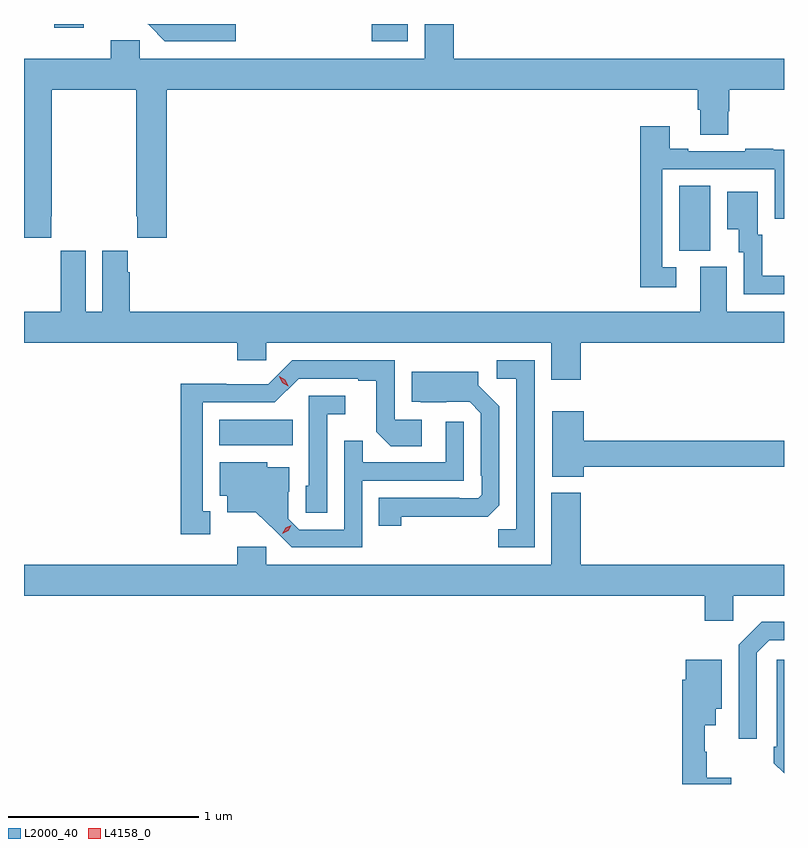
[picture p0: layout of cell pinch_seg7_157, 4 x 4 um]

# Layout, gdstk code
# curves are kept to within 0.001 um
import gdstk
lib = gdstk.Library(unit=1e-6, precision=1e-09)
def R(c, l, rs):  # rectangles x0, y0, x1, y1
    for r in rs: c.add(gdstk.rectangle(r[:2], r[2:], *l))
def P(c, l, *ps):  # polygons
    for p in ps: c.add(gdstk.Polygon(p, *l))
L2000_40 = (2000, 40)
L4158_0 = (4158, 0)

pinch_seg7_157 = lib.new_cell('pinch_seg7_157')
R(pinch_seg7_157, L2000_40, [(1047.347,1032.044,1047.734,1032.178), (1049.768,1033.069,1049.932,1033.412), (1048.15,1034.172,1048.341,1034.262), (1046.478,1034.241,1046.635,1034.262)])
P(pinch_seg7_157, L2000_40, [(1046.463,1033.249),(1046.466,1033.249),(1046.466,1033.916),(1046.911,1033.916),(1046.911,1033.249),(1046.917,1033.249),(1046.917,1033.137),(1047.071,1033.137),(1047.071,1033.916),(1049.867,1033.916),(1049.867,1033.81),(1049.879,1033.81),(1049.879,1033.678),(1050.027,1033.678),(1050.027,1033.803),(1050.032,1033.803),(1050.032,1033.916),(1050.32,1033.916),(1050.32,1034.08),(1048.583,1034.08),(1048.583,1034.262),(1048.43,1034.262),(1048.43,1034.08),(1046.928,1034.08),(1046.928,1034.176),(1046.777,1034.176),(1046.777,1034.08),(1046.32,1034.08),(1046.32,1033.137),(1046.463,1033.137)],
  [(1047.435,1034.262),(1046.971,1034.262),(1046.978,1034.255),(1047.062,1034.172),(1047.435,1034.172)],
  [(1049.752,1032.981),(1049.679,1032.981),(1049.679,1033.497),(1050.27,1033.497),(1050.27,1033.236),(1050.32,1033.236),(1050.32,1033.599),(1050.263,1033.599),(1050.263,1033.606),(1050.115,1033.606),(1050.115,1033.593),(1049.815,1033.593),(1049.815,1033.606),(1049.719,1033.606),(1049.719,1033.723),(1049.563,1033.723),(1049.563,1032.876),(1049.752,1032.876)],
  [(1050.32,1032.936),(1050.205,1032.936),(1050.205,1033.152),(1050.181,1033.152),(1050.181,1033.378),(1050.02,1033.378),(1050.02,1033.181),(1050.083,1033.181),(1050.083,1033.062),(1050.108,1033.062),(1050.108,1032.84),(1050.32,1032.84)],
  [(1050.32,1032.748),(1050.019,1032.748),(1050.019,1032.984),(1049.879,1032.984),(1049.879,1032.748),(1046.876,1032.748),(1046.876,1032.956),(1046.866,1032.956),(1046.866,1033.069),(1046.732,1033.069),(1046.732,1032.748),(1046.644,1032.748),(1046.644,1033.069),(1046.514,1033.069),(1046.514,1032.956),(1046.513,1032.956),(1046.513,1032.748),(1046.32,1032.748),(1046.32,1032.584),(1047.443,1032.584),(1047.443,1032.491),(1047.594,1032.491),(1047.594,1032.584),(1049.096,1032.584),(1049.096,1032.39),(1049.249,1032.39),(1049.249,1032.584),(1050.32,1032.584)],
  [(1047.301,1031.697),(1047.262,1031.697),(1047.262,1032.27),(1047.639,1032.27),(1047.765,1032.396),(1048.079,1032.396),(1048.079,1032.384),(1048.173,1032.384),(1048.173,1032.116),(1048.249,1032.04),(1048.414,1032.04),(1048.414,1032.18),(1048.272,1032.18),(1048.272,1032.492),(1047.732,1032.492),(1047.606,1032.366),(1047.384,1032.366),(1047.384,1032.368),(1047.144,1032.368),(1047.144,1031.577),(1047.301,1031.577)],
  [(1049.007,1032.492),(1048.809,1032.492),(1048.809,1032.396),(1048.911,1032.396),(1048.911,1031.603),(1048.816,1031.603),(1048.816,1031.508),(1049.007,1031.508)],
  [(1048.305,1031.668),(1048.762,1031.669),(1048.821,1031.728),(1048.821,1032.25),(1048.711,1032.36),(1048.711,1032.433),(1048.361,1032.433),(1048.361,1032.275),(1048.405,1032.275),(1048.408,1032.272),(1048.665,1032.273),(1048.725,1032.213),(1048.725,1031.884),(1048.728,1031.884),(1048.728,1031.784),(1048.71,1031.766),(1048.61,1031.766),(1048.61,1031.769),(1048.186,1031.769),(1048.186,1031.622),(1048.305,1031.622)],
  [(1047.915,1032.209),(1048.012,1032.209),(1048.012,1032.306),(1047.819,1032.306),(1047.819,1031.832),(1047.804,1031.832),(1047.804,1031.689),(1047.915,1031.689)],
  [(1049.266,1031.932),(1050.32,1031.932),(1050.32,1032.068),(1049.266,1032.068),(1049.266,1032.223),(1049.099,1032.223),(1049.099,1031.879),(1049.266,1031.879)],
  [(1048.101,1031.859),(1048.635,1031.859),(1048.635,1032.169),(1048.539,1032.169),(1048.539,1031.955),(1048.103,1031.955),(1048.103,1032.068),(1048.005,1032.068),(1048.005,1031.601),(1047.768,1031.601),(1047.711,1031.658),(1047.711,1031.8),(1047.715,1031.8),(1047.715,1031.929),(1047.6,1031.929),(1047.6,1031.956),(1047.35,1031.956),(1047.35,1031.78),(1047.389,1031.78),(1047.389,1031.693),(1047.541,1031.693),(1047.728,1031.508),(1048.101,1031.508)],
  [(1050.054,1031.252),(1050.32,1031.252),(1050.32,1031.416),(1049.249,1031.416),(1049.249,1031.794),(1049.096,1031.794),(1049.096,1031.416),(1047.594,1031.416),(1047.594,1031.512),(1047.443,1031.512),(1047.443,1031.416),(1046.32,1031.416),(1046.32,1031.252),(1049.903,1031.252),(1049.903,1031.121),(1050.054,1031.121)],
  [(1050.177,1030.953),(1050.243,1031.019),(1050.32,1031.019),(1050.32,1031.116),(1050.202,1031.116),(1050.081,1030.995),(1050.081,1030.5),(1050.177,1030.5)],
  [(1050.32,1030.917),(1050.282,1030.917),(1050.282,1030.459),(1050.267,1030.459),(1050.267,1030.371),(1050.32,1030.318)],
  [(1050.043,1030.295),(1049.914,1030.295),(1049.914,1030.431),(1049.903,1030.431),(1049.903,1030.571),(1049.962,1030.571),(1049.962,1030.658),(1049.992,1030.658),(1049.992,1030.915),(1049.804,1030.915),(1049.804,1030.811),(1049.785,1030.811),(1049.785,1030.262),(1050.043,1030.262)])
P(pinch_seg7_157, L4158_0, [(1047.68,1031.58),(1047.68,1031.58),(1047.697,1031.61),(1047.727,1031.625),(1047.727,1031.625),(1047.727,1031.625),(1047.71,1031.595),(1047.68,1031.58)],
  [(1047.711,1032.356),(1047.68,1032.375),(1047.663,1032.408),(1047.663,1032.408),(1047.663,1032.408),(1047.695,1032.389),(1047.712,1032.356),(1047.712,1032.356)])

lib.write_gds('pinch_seg7_157.gds')
